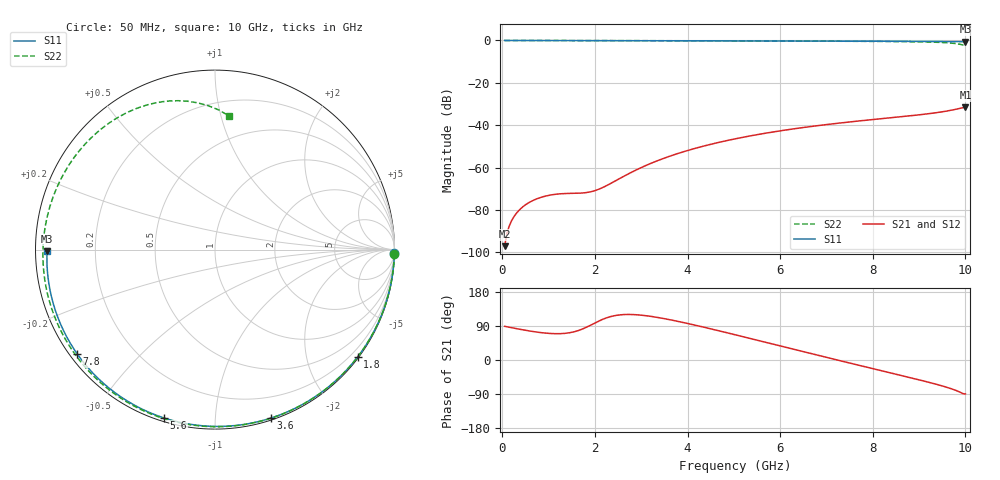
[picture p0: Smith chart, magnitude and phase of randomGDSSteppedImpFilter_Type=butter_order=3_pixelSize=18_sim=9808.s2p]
! freq	dB(S11)	phase(S11)	dB(S12)	phase(S12)
!  dB(S21)	phase(S21)	dB(S22)	phase(S22)
!S-par simulation data
#  GHz  S  DB  R 50
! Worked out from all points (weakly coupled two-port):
!   200 points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, 50 MHz to 10 GHz, reference 50 ohm
!   highest |S21| = -31.65 dB at 10 GHz (marker M1); lowest = -97.1 dB at 50 MHz (marker M2)
!   lowest |S11| = -0.6 dB at 10 GHz (marker M3), VSWR 30.28, Z = 1.65 - j0.271 ohm
!   |S11| at or under -10 dB: nowhere
!   |S22| runs from -2.5 to 0.0 dB; largest |S21 - S12| = 0
!   S11 on the Smith chart (normalised r, x): 50 MHz: open; 1.8 GHz: 0.03, -2.99; 3.6 GHz: 0.02, -1.38; 5.6 GHz: 0.02, -0.74; 7.8 GHz: 0.02, -0.34; 10 GHz: 0.03, -0.01
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0.05  -0.00 -1.1  -97.14 88.9  -97.14 88.9  -0.00 -1.4
0.35  -0.01 -7.3  -80.46 81.7  -80.46 81.7  -0.01 -9.7
0.65  -0.02 -13.6  -75.69 75.4  -75.69 75.4  -0.02 -18.0
1  -0.03 -20.8  -73.16 70.3  -73.16 70.3  -0.03 -27.6
1.75  -0.05 -36.0  -71.99 82.8  -71.99 82.8  -0.06 -47.7
1.8  -0.05 -37.0  -71.88 85.5  -71.88 85.5  -0.06 -49.0
2.1  -0.05 -43.0  -70.11 103.7  -70.11 103.7  -0.07 -56.8
2.6  -0.07 -52.8  -64.42 119.7  -64.42 119.7  -0.09 -69.5
3.4  -0.09 -68.0  -56.37 111.3  -56.37 111.3  -0.11 -89.1
3.6  -0.10 -71.7  -54.78 106.8  -54.78 106.8  -0.12 -93.9
4.3  -0.12 -84.4  -50.15 88.1  -50.15 88.1  -0.15 -110.1
5.05  -0.15 -97.6  -46.36 66.0  -46.36 66.0  -0.19 -127.0
5.6  -0.18 -106.9  -44.11 49.3  -44.11 49.3  -0.22 -139.2
6.7  -0.24 -125.1  -40.53 16.0  -40.53 16.0  -0.30 -163.7
7.25  -0.28 -134.0  -39.08 -0.6  -39.08 -0.6  -0.35 -176.3
7.8  -0.33 -142.9  -37.78 -16.9  -37.78 -16.9  -0.41 170.4
8.35  -0.38 -151.8  -36.58 -33.1  -36.58 -33.1  -0.49 156.1
8.9  -0.44 -160.8  -35.36 -49.4  -35.36 -49.4  -0.62 140.0
9.35  -0.49 -168.3  -34.18 -63.3  -34.18 -63.3  -0.83 123.8
9.75  -0.54 -175.1  -32.71 -78.2  -32.71 -78.2  -1.37 103.8
9.9  -0.56 -177.7  -31.97 -85.8  -31.97 -85.8  -1.90 92.9
10  -0.57 -179.4  -31.65 -89.6  -31.65 -89.6  -2.50 84.1
